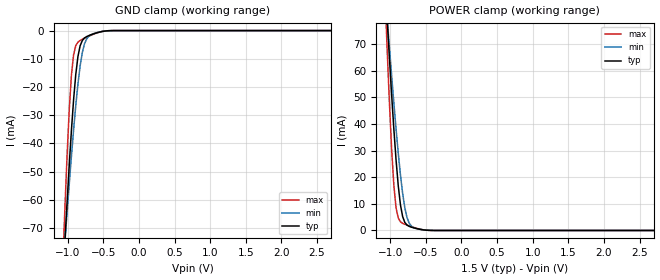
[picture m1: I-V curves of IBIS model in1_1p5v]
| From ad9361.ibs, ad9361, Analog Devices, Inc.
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|   Model: input1_1p5v
[Model]   in1_1p5v
Model_type Input
Vinl=0.3
Vinh=1.2
|   variable   typ   min   max
C_comp  2.391733E-14   1.888095E-14   3.283476E-13
[C Comp Corner]
C_comp   2.391733E-14   1.888095E-14   3.283476E-13
[Temperature Range]   25   85   -40
[Voltage Range]   1.5   1.14   1.86
[POWER Clamp Reference] 1.5   1.14   1.86
[GND Clamp Reference]   0   0   0
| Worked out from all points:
|   GND clamp passes 1 mA (typ) near -0.62 V on its own axis
|   POWER clamp passes 1 mA (typ) near -0.67 V on its own axis
[POWER_clamp]
| Voltage   I(typ)   I(min)   I(max)
-1.5V     315.2mA    253.3mA    416.6mA
-1.071V   92.57mA    89.81mA    86.68mA
-1.041V   78mA       78.87mA    66.08mA
-1.01V    63.89mA    68.15mA    46.88mA
-979.6mV  50.39mA    57.71mA    29.94mA
-949mV    37.76mA    47.61mA    16.67mA
-918.4mV  26.36mA    37.99mA    8.422mA
-887.8mV  16.76mA    28.99mA    4.656mA
-826.5mV  5.248mA    13.94mA    2.684mA
-734.7mV  1.554mA    2.767mA    1.717mA
-551mV    302.9uA    280.6uA    313uA
3V        -277.9pA   -805pA     -34.9pA
[GND_clamp]
| Voltage   I(typ)   I(min)   I(max)
-1.5V     -310.6mA   -248.8mA   -412.2mA
-1.071V   -89.35mA   -86.15mA   -83.72mA
-1.041V   -74.95mA   -75.34mA   -63.36mA
-1.01V    -61.03mA   -64.76mA   -44.55mA
-979.6mV  -47.78mA   -54.49mA   -28.26mA
-949mV    -35.47mA   -44.62mA   -15.91mA
-918.4mV  -24.54mA   -35.26mA   -8.594mA
-887.8mV  -15.57mA   -26.62mA   -5.351mA
-826.5mV  -5.408mA   -12.57mA   -3.501mA
-734.7mV  -2.129mA   -2.939mA   -2.338mA
-489.8mV  -207.4uA   -201.8uA   -188.8uA
3V        251.7pA    884.3pA    34.07pA
